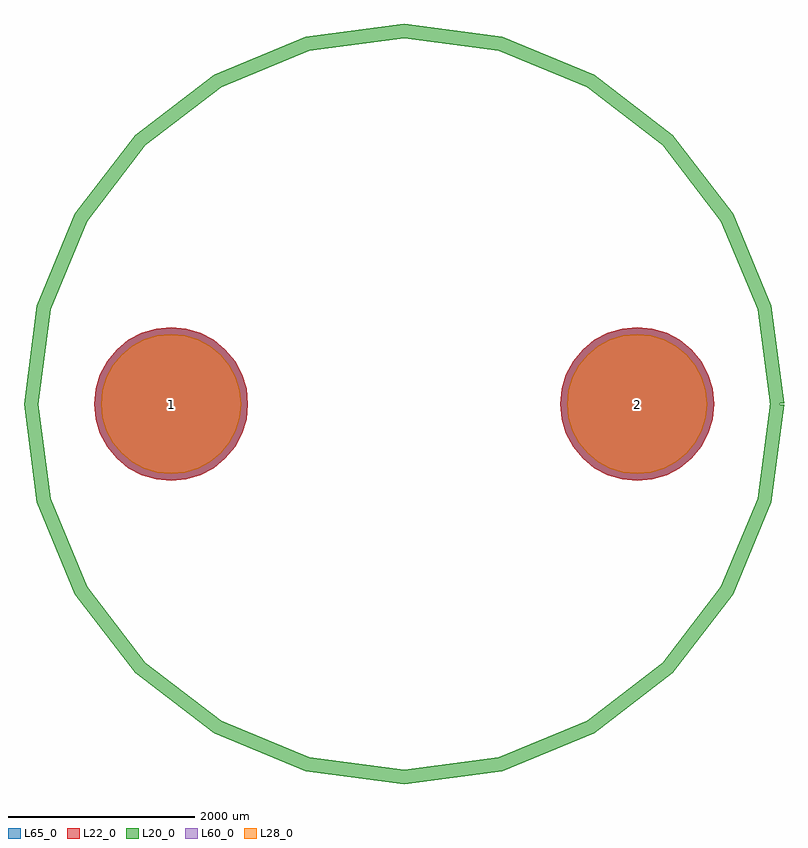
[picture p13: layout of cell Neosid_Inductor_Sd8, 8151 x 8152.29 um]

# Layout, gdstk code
import gdstk
lib = gdstk.Library(unit=1e-6, precision=1e-09)
def P(c, l, *ps):  # polygons
    for p in ps: c.add(gdstk.Polygon(p, *l))
L20_0 = (20, 0)
L22_0 = (22, 0)
L28_0 = (28, 0)
L60_0 = (60, 0)
L65_0 = (65, 0)

neosid_inductor_sd8 = lib.new_cell('Neosid_Inductor_Sd8')
P(neosid_inductor_sd8, L22_0, [(-1673.79,0),(-1689.653,161.061),(-1736.633,315.932),(-1812.924,458.662),(-1915.594,583.766),(-2040.698,686.436),(-2183.428,762.727),(-2338.299,809.707),(-2499.36,825.57),(-2660.421,809.707),(-2815.292,762.727),(-2958.022,686.436),(-3083.126,583.766),(-3185.796,458.662),(-3262.087,315.932),(-3309.067,161.061),(-3324.93,0),(-3309.067,-161.061),(-3262.087,-315.932),(-3185.796,-458.662),(-3083.126,-583.766),(-2958.022,-686.436),(-2815.292,-762.727),(-2660.421,-809.707),(-2499.36,-825.57),(-2338.299,-809.707),(-2183.428,-762.727),(-2040.698,-686.436),(-1915.594,-583.766),(-1812.924,-458.662),(-1736.633,-315.932),(-1689.653,-161.061)],
  [(3324.93,0),(3309.067,161.061),(3262.087,315.932),(3185.796,458.662),(3083.126,583.766),(2958.022,686.436),(2815.292,762.727),(2660.421,809.707),(2499.36,825.57),(2338.299,809.707),(2183.428,762.727),(2040.698,686.436),(1915.594,583.766),(1812.924,458.662),(1736.633,315.932),(1689.653,161.061),(1673.79,0),(1689.653,-161.061),(1736.633,-315.932),(1812.924,-458.662),(1915.594,-583.766),(2040.698,-686.436),(2183.428,-762.727),(2338.299,-809.707),(2499.36,-825.57),(2660.421,-809.707),(2815.292,-762.727),(2958.022,-686.436),(3083.126,-583.766),(3185.796,-458.662),(3262.087,-315.932),(3309.067,-161.061)])
P(neosid_inductor_sd8, L28_0, [(-1748.79,0),(-1763.212,146.429),(-1805.924,287.231),(-1875.284,416.994),(-1968.627,530.733),(-2082.366,624.076),(-2212.129,693.436),(-2352.931,736.148),(-2499.36,750.57),(-2645.789,736.148),(-2786.591,693.436),(-2916.354,624.076),(-3030.093,530.733),(-3123.436,416.994),(-3192.796,287.231),(-3235.508,146.429),(-3249.93,0),(-3235.508,-146.429),(-3192.796,-287.231),(-3123.436,-416.994),(-3030.093,-530.733),(-2916.354,-624.076),(-2786.591,-693.436),(-2645.789,-736.148),(-2499.36,-750.57),(-2352.931,-736.148),(-2212.129,-693.436),(-2082.366,-624.076),(-1968.627,-530.733),(-1875.284,-416.994),(-1805.924,-287.231),(-1763.212,-146.429)],
  [(3249.93,0),(3235.508,146.429),(3192.796,287.231),(3123.436,416.994),(3030.093,530.733),(2916.354,624.076),(2786.591,693.436),(2645.789,736.148),(2499.36,750.57),(2352.931,736.148),(2212.129,693.436),(2082.366,624.076),(1968.627,530.733),(1875.284,416.994),(1805.924,287.231),(1763.212,146.429),(1748.79,0),(1763.212,-146.429),(1805.924,-287.231),(1875.284,-416.994),(1968.627,-530.733),(2082.366,-624.076),(2212.129,-693.436),(2352.931,-736.148),(2499.36,-750.57),(2645.789,-736.148),(2786.591,-693.436),(2916.354,-624.076),(3030.093,-530.733),(3123.436,-416.994),(3192.796,-287.231),(3235.508,-146.429)])
P(neosid_inductor_sd8, L60_0, [(-1748.79,0),(-1763.212,146.429),(-1805.924,287.231),(-1875.284,416.994),(-1968.627,530.733),(-2082.366,624.076),(-2212.129,693.436),(-2352.931,736.148),(-2499.36,750.57),(-2645.789,736.148),(-2786.591,693.436),(-2916.354,624.076),(-3030.093,530.733),(-3123.436,416.994),(-3192.796,287.231),(-3235.508,146.429),(-3249.93,0),(-3235.508,-146.429),(-3192.796,-287.231),(-3123.436,-416.994),(-3030.093,-530.733),(-2916.354,-624.076),(-2786.591,-693.436),(-2645.789,-736.148),(-2499.36,-750.57),(-2352.931,-736.148),(-2212.129,-693.436),(-2082.366,-624.076),(-1968.627,-530.733),(-1875.284,-416.994),(-1805.924,-287.231),(-1763.212,-146.429)],
  [(3249.93,0),(3235.508,146.429),(3192.796,287.231),(3123.436,416.994),(3030.093,530.733),(2916.354,624.076),(2786.591,693.436),(2645.789,736.148),(2499.36,750.57),(2352.931,736.148),(2212.129,693.436),(2082.366,624.076),(1968.627,530.733),(1875.284,416.994),(1805.924,287.231),(1763.212,146.429),(1748.79,0),(1763.212,-146.429),(1805.924,-287.231),(1875.284,-416.994),(1968.627,-530.733),(2082.366,-624.076),(2212.129,-693.436),(2352.931,-736.148),(2499.36,-750.57),(2645.789,-736.148),(2786.591,-693.436),(2916.354,-624.076),(3030.093,-530.733),(3123.436,-416.994),(3192.796,-287.231),(3235.508,-146.429)])
P(neosid_inductor_sd8, L65_0, [(-1673.79,0),(-1689.653,161.061),(-1736.633,315.932),(-1812.924,458.662),(-1915.594,583.766),(-2040.698,686.436),(-2183.428,762.727),(-2338.299,809.707),(-2499.36,825.57),(-2660.421,809.707),(-2815.292,762.727),(-2958.022,686.436),(-3083.126,583.766),(-3185.796,458.662),(-3262.087,315.932),(-3309.067,161.061),(-3324.93,0),(-3309.067,-161.061),(-3262.087,-315.932),(-3185.796,-458.662),(-3083.126,-583.766),(-2958.022,-686.436),(-2815.292,-762.727),(-2660.421,-809.707),(-2499.36,-825.57),(-2338.299,-809.707),(-2183.428,-762.727),(-2040.698,-686.436),(-1915.594,-583.766),(-1812.924,-458.662),(-1736.633,-315.932),(-1689.653,-161.061)],
  [(3324.93,0),(3309.067,161.061),(3262.087,315.932),(3185.796,458.662),(3083.126,583.766),(2958.022,686.436),(2815.292,762.727),(2660.421,809.707),(2499.36,825.57),(2338.299,809.707),(2183.428,762.727),(2040.698,686.436),(1915.594,583.766),(1812.924,458.662),(1736.633,315.932),(1689.653,161.061),(1673.79,0),(1689.653,-161.061),(1736.633,-315.932),(1812.924,-458.662),(1915.594,-583.766),(2040.698,-686.436),(2183.428,-762.727),(2338.299,-809.707),(2499.36,-825.57),(2660.421,-809.707),(2815.292,-762.727),(2958.022,-686.436),(3083.126,-583.766),(3185.796,-458.662),(3262.087,-315.932),(3309.067,-161.061)])
neosid_inductor_sd8.add(gdstk.FlexPath([(4000.5,0),(3864.186,1035.406),(3464.535,2000.25),(2828.781,2828.781),(2000.25,3464.535),(1035.406,3864.186),(0,4000.5),(-1035.406,3864.186),(-2000.25,3464.535),(-2828.781,2828.781),(-3464.535,2000.25),(-3864.186,1035.406),(-4000.5,0),(-3864.186,-1035.406),(-3464.535,-2000.25),(-2828.781,-2828.781),(-2000.25,-3464.535),(-1035.406,-3864.186),(0,-4000.5),(1035.406,-3864.186),(2000.25,-3464.535),(2828.781,-2828.781),(3464.535,-2000.25),(3864.186,-1035.406),(4000.5,0)], 149.998, ends="flush", simple_path=True, layer=20, datatype=0))  # L20_0
neosid_inductor_sd8.add(gdstk.Label('1', (-2499.36,0), layer=28, texttype=0))
neosid_inductor_sd8.add(gdstk.Label('2', (2499.36,0), layer=28, texttype=0))
neosid_inductor_sd8.add(gdstk.Label('type', (200.66,-5600.7), layer=9, texttype=0))
neosid_inductor_sd8.add(gdstk.Label('devicename', (99.06,5499.1), layer=9, texttype=0))

lib.write_gds('Neosid_Inductor_Sd8.gds')
